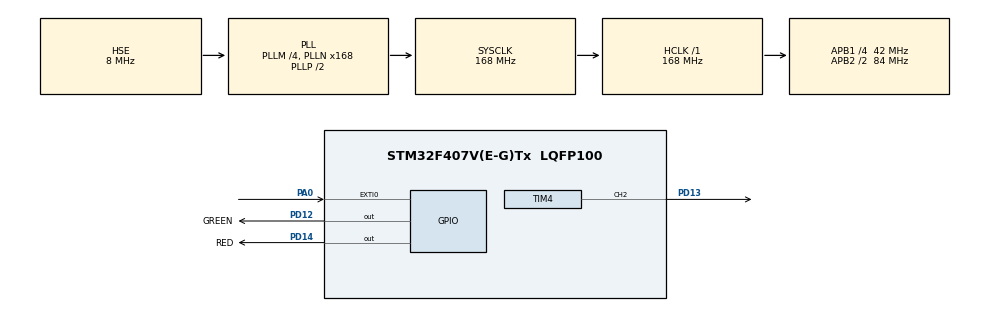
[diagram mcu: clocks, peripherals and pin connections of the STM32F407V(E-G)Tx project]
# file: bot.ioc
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Mcu.Family=STM32F4
Mcu.Name=STM32F407V(E-G)Tx
Mcu.Package=LQFP100
NVIC.EXTI0_IRQn=true\:0\:0\:false\:false\:true\:true\:true\:true
NVIC.PriorityGroup=NVIC_PRIORITYGROUP_4
NVIC.TIM3_IRQn=true\:0\:0\:false\:false\:true\:true\:true\:true
PA0-WKUP.GPIO_ModeDefaultEXTI=GPIO_MODE_IT_FALLING
PA0-WKUP.Signal=GPXTI0
PA13.Mode=Trace_Asynchronous_SW
PA13.Signal=SYS_JTMS-SWDIO
PA14.Mode=Trace_Asynchronous_SW
PA14.Signal=SYS_JTCK-SWCLK
PB3.Mode=Trace_Asynchronous_SW
PB3.Signal=SYS_JTDO-SWO
PD12.GPIO_Label=GREEN
PD12.Signal=GPIO_Output
PD13.Signal=S_TIM4_CH2
PD14.GPIO_Label=RED
PD14.Signal=GPIO_Output
PH0-OSC_IN.Mode=HSE-External-Oscillator
PH0-OSC_IN.Signal=RCC_OSC_IN
PH1-OSC_OUT.Mode=HSE-External-Oscillator
PH1-OSC_OUT.Signal=RCC_OSC_OUT
ProjectManager.HeapSize=0x200
ProjectManager.StackSize=0x400
ProjectManager.TargetToolchain=Other Toolchains (GPDSC)
RCC.48MHZClocksFreq_Value=48000000
RCC.AHBFreq_Value=168000000
RCC.APB1CLKDivider=RCC_HCLK_DIV4
RCC.APB1Freq_Value=42000000
RCC.APB1TimFreq_Value=84000000
RCC.APB2CLKDivider=RCC_HCLK_DIV2
RCC.APB2Freq_Value=84000000
RCC.APB2TimFreq_Value=168000000
RCC.CortexFreq_Value=168000000
RCC.HCLKFreq_Value=168000000
RCC.HSE_VALUE=8000000
RCC.HSI_VALUE=16000000
RCC.LSE_VALUE=32768
RCC.PLLM=4
RCC.PLLN=168
RCC.PLLQ=7
RCC.PLLSourceVirtual=RCC_PLLSOURCE_HSE
RCC.SYSCLKFreq_VALUE=168000000
RCC.SYSCLKSource=RCC_SYSCLKSOURCE_PLLCLK
RCC.VCOOutputFreq_Value=336000000
SH.S_TIM4_CH2.0=TIM4_CH2,PWM Generation2 CH2
TIM3.Period=60000-1
TIM3.Prescaler=280
TIM4.AutoReloadPreload=TIM_AUTORELOAD_PRELOAD_DISABLE
TIM4.Channel-PWM\ Generation2\ CH2=TIM_CHANNEL_2
TIM4.ClockDivision=TIM_CLOCKDIVISION_DIV1
TIM4.OCMode_PWM-PWM\ Generation2\ CH2=TIM_OCMODE_PWM1
TIM4.OCPolarity_2=TIM_OCPOLARITY_HIGH
TIM4.Period=10000-1
TIM4.Prescaler=8400
TIM4.Pulse-PWM\ Generation2\ CH2=10000-1
VP_TIM3_VS_ClockSourceINT.Mode=Internal
VP_TIM4_VS_ClockSourceINT.Mode=Internal
board=custom

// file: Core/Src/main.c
/* USER CODE BEGIN Header */
/**
  ******************************************************************************
  * @file           : main.c
  * @brief          : Main program body
  ******************************************************************************
  * @attention
  *
  * Copyright (c) 2023 STMicroelectronics.
  * All rights reserved.
  *
  * This software is licensed under terms that can be found in the LICENSE file
  * in the root directory of this software component.
  * If no LICENSE file comes with this software, it is provided AS-IS.
  *
  ******************************************************************************
  */
/* USER CODE END Header */
#include "main.h"
#include "tim.h"
#include "gpio.h"

/* USER CODE BEGIN PTD */
typedef enum
{
	aguardando = 0,
	borda_detectada,
	bot_pressionado,
}tipo_botao;

typedef enum
{
	desligado = 0,
	doisHz,
	quatroHz,
	ligado,
}tipo_led;

typedef enum
{
	false = 0,
	true = 1,
}tipo_bool;

typedef struct
{
	tipo_bool ant;
	tipo_bool atu;
	uint32_t CDT;
} tipo_estado_botao;
/* USER CODE END PTD */

/* USER CODE BEGIN PV */
uint16_t EXTI_interrupt = 0;
uint16_t TIM3_interrupt = 0;

uint16_t i = 0;

tipo_botao estadoBot = aguardando;
tipo_led estadoLed = desligado;
tipo_bool sinal_bot_pressionado = false;
tipo_estado_botao botao = {false, false, 0};
/* USER CODE END PV */

void SystemClock_Config(void);

int main(void)
{

  /* MCU Configuration--------------------------------------------------------*/

  /* Reset of all peripherals, Initializes the Flash interface and the Systick. */
  HAL_Init();

  /* Configure the system clock */
  SystemClock_Config();

  /* Initialize all configured peripherals */
  MX_GPIO_Init();
  MX_TIM3_Init();
  MX_TIM4_Init();
  /* USER CODE BEGIN 2 */
  HAL_TIM_PWM_Start(&htim4, TIM_CHANNEL_2);
  /* USER CODE END 2 */

  /* Infinite loop */
  /* USER CODE BEGIN WHILE */
  while (1)
  {
	  switch (estadoBot)
	  {
	  case aguardando:
		  botao.ant = false;
		  botao.atu = false;
		  if(HAL_GPIO_ReadPin(GPIOA, GPIO_PIN_0))
		  {
			  botao.atu = true;
			  estadoBot = borda_detectada;
		  }
		  break;

	  case borda_detectada:

		  break;

	  case bot_pressionado:
		  sinal_bot_pressionado = true;
		  estadoBot = aguardando;
		  break;
	  default:
		  break;
	  }
    /* USER CODE END WHILE */

  }
}

void SystemClock_Config(void)
{
  RCC_OscInitTypeDef RCC_OscInitStruct = {0};
  RCC_ClkInitTypeDef RCC_ClkInitStruct = {0};

  /** Configure the main internal regulator output voltage
  */
  __HAL_RCC_PWR_CLK_ENABLE();
  __HAL_PWR_VOLTAGESCALING_CONFIG(PWR_REGULATOR_VOLTAGE_SCALE1);

  /** Initializes the RCC Oscillators according to the specified parameters
  * in the RCC_OscInitTypeDef structure.
  */
  RCC_OscInitStruct.OscillatorType = RCC_OSCILLATORTYPE_HSE;
  RCC_OscInitStruct.HSEState = RCC_HSE_ON;
  RCC_OscInitStruct.PLL.PLLState = RCC_PLL_ON;
  RCC_OscInitStruct.PLL.PLLSource = RCC_PLLSOURCE_HSE;
  RCC_OscInitStruct.PLL.PLLM = 4;
  RCC_OscInitStruct.PLL.PLLN = 168;
  RCC_OscInitStruct.PLL.PLLP = RCC_PLLP_DIV2;
  RCC_OscInitStruct.PLL.PLLQ = 7;
  if (HAL_RCC_OscConfig(&RCC_OscInitStruct) != HAL_OK)
  {
    Error_Handler();
  }

  /** Initializes the CPU, AHB and APB buses clocks
  */
  RCC_ClkInitStruct.ClockType = RCC_CLOCKTYPE_HCLK|RCC_CLOCKTYPE_SYSCLK
                              |RCC_CLOCKTYPE_PCLK1|RCC_CLOCKTYPE_PCLK2;
  RCC_ClkInitStruct.SYSCLKSource = RCC_SYSCLKSOURCE_PLLCLK;
  RCC_ClkInitStruct.AHBCLKDivider = RCC_SYSCLK_DIV1;
  RCC_ClkInitStruct.APB1CLKDivider = RCC_HCLK_DIV4;
  RCC_ClkInitStruct.APB2CLKDivider = RCC_HCLK_DIV2;

  if (HAL_RCC_ClockConfig(&RCC_ClkInitStruct, FLASH_LATENCY_5) != HAL_OK)
  {
    Error_Handler();
  }
}

/* USER CODE BEGIN 4 */
void HAL_GPIO_EXTI_Callback(uint16_t GPIO_Pin)
{
	if (GPIO_Pin == GPIO_PIN_0)
	{
		EXTI->RTSR = 0; 						// Rising trigger selection register (circuito de detecção de borda)
		EXTI->IMR = 0; 							// Interrupt mask register
		__HAL_GPIO_EXTI_CLEAR_IT(GPIO_Pin);		// Clear pending bit from EXT0
		HAL_NVIC_ClearPendingIRQ(EXTI0_IRQn);	// Clear NVIC pending bit
		htim3.Instance->CNT = 0;				// Counter is zero
		HAL_TIM_Base_Start_IT(&htim3);			// Start timer interrupt (TIM3)
		EXTI_interrupt++;						// EXTI interrupt update counter
	}
}
void HAL_TIM_PeriodElapsedCallback(TIM_HandleTypeDef *htim)
{
	HAL_TIM_Base_Stop_IT(&htim3);				// Stop timer interrupt (TIM3)
	htim3.Instance->CNT = 0;					// Counter is zero
	if(HAL_GPIO_ReadPin(GPIOA, GPIO_PIN_0))		// Check if the pin is still pressed
	{
		TIM3_interrupt++;						// TIM3 interrupt update counter
		HAL_GPIO_TogglePin(GPIOD, GREEN_Pin);	// Toggle Green LED
		estadoBot = bot_pressionado;
	}
	else
	{
		estadoBot = aguardando;
	}
	__HAL_GPIO_EXTI_CLEAR_IT(GPIO_PIN_0);		// Clear pending bit from EXT0
	HAL_NVIC_ClearPendingIRQ(EXTI0_IRQn);		// Clear NVIC pending bit
	EXTI->RTSR = 1;								// Rising trigger selection register activated
	EXTI->IMR = 1;								// Interrupt mask register
	HAL_NVIC_EnableIRQ(EXTI0_IRQn);				// Enable NVIC EXTI0 interrupt
}
/* USER CODE END 4 */

void Error_Handler(void)
{
  __disable_irq();
  while (1)
  {
  }
}
